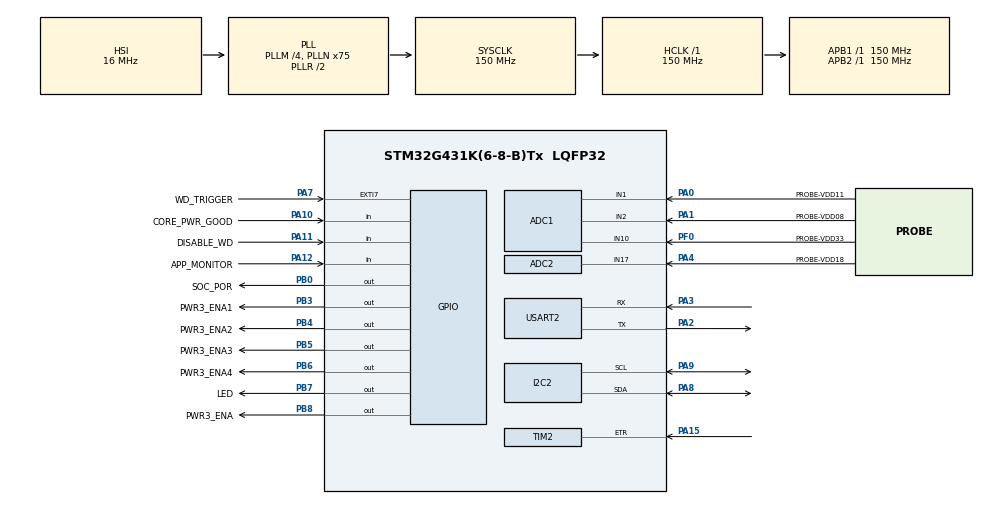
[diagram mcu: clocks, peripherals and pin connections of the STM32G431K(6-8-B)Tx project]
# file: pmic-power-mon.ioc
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ADC1.Channel-0\#ChannelRegularConversion=ADC_CHANNEL_1
ADC1.NbrOfConversionFlag=1
ADC1.OffsetNumber-0\#ChannelRegularConversion=ADC_OFFSET_NONE
ADC1.Rank-0\#ChannelRegularConversion=1
ADC1.SamplingTime-0\#ChannelRegularConversion=ADC_SAMPLETIME_2CYCLES_5
ADC1.master=1
ADC2.Channel-0\#ChannelRegularConversion=ADC_CHANNEL_17
ADC2.NbrOfConversionFlag=1
ADC2.OffsetNumber-0\#ChannelRegularConversion=ADC_OFFSET_NONE
ADC2.Rank-0\#ChannelRegularConversion=1
ADC2.SamplingTime-0\#ChannelRegularConversion=ADC_SAMPLETIME_2CYCLES_5
Dma.Request0=USART2_RX
Dma.Request1=USART2_TX
Dma.USART2_RX.0.Direction=DMA_PERIPH_TO_MEMORY
Dma.USART2_RX.0.EventEnable=DISABLE
Dma.USART2_RX.0.Instance=DMA1_Channel1
Dma.USART2_RX.0.MemDataAlignment=DMA_MDATAALIGN_BYTE
Dma.USART2_RX.0.MemInc=DMA_MINC_ENABLE
Dma.USART2_RX.0.Mode=DMA_NORMAL
Dma.USART2_RX.0.PeriphDataAlignment=DMA_PDATAALIGN_BYTE
Dma.USART2_RX.0.PeriphInc=DMA_PINC_DISABLE
Dma.USART2_RX.0.Polarity=HAL_DMAMUX_REQ_GEN_RISING
Dma.USART2_RX.0.Priority=DMA_PRIORITY_LOW
Dma.USART2_RX.0.RequestNumber=1
Dma.USART2_RX.0.SignalID=NONE
Dma.USART2_RX.0.SyncEnable=DISABLE
Dma.USART2_RX.0.SyncPolarity=HAL_DMAMUX_SYNC_NO_EVENT
Dma.USART2_RX.0.SyncRequestNumber=1
Dma.USART2_RX.0.SyncSignalID=NONE
Dma.USART2_TX.1.Direction=DMA_MEMORY_TO_PERIPH
Dma.USART2_TX.1.EventEnable=DISABLE
Dma.USART2_TX.1.Instance=DMA1_Channel2
Dma.USART2_TX.1.MemDataAlignment=DMA_MDATAALIGN_BYTE
Dma.USART2_TX.1.MemInc=DMA_MINC_ENABLE
Dma.USART2_TX.1.Mode=DMA_NORMAL
Dma.USART2_TX.1.PeriphDataAlignment=DMA_PDATAALIGN_BYTE
Dma.USART2_TX.1.PeriphInc=DMA_PINC_DISABLE
Dma.USART2_TX.1.Polarity=HAL_DMAMUX_REQ_GEN_RISING
Dma.USART2_TX.1.Priority=DMA_PRIORITY_LOW
Dma.USART2_TX.1.RequestNumber=1
Dma.USART2_TX.1.SignalID=NONE
Dma.USART2_TX.1.SyncEnable=DISABLE
Dma.USART2_TX.1.SyncPolarity=HAL_DMAMUX_SYNC_NO_EVENT
Dma.USART2_TX.1.SyncRequestNumber=1
Dma.USART2_TX.1.SyncSignalID=NONE
I2C2.Timing=0x20C0EDFF
Mcu.Family=STM32G4
Mcu.Name=STM32G431K(6-8-B)Tx
Mcu.Package=LQFP32
NVIC.DMA1_Channel1_IRQn=true\:0\:0\:false\:false\:true\:false\:true
NVIC.DMA1_Channel2_IRQn=true\:0\:0\:false\:false\:true\:false\:true
NVIC.PriorityGroup=NVIC_PRIORITYGROUP_4
NVIC.USART2_IRQn=true\:0\:0\:false\:false\:true\:true\:true
PA0.GPIO_Label=PROBE-VDD11
PA0.Mode=IN1-Single-Ended
PA0.Signal=ADC1_IN1
PA1.GPIO_Label=PROBE-VDD08
PA1.Mode=IN2-Single-Ended
PA1.Signal=ADC1_IN2
PA10.GPIO_Label=CORE_PWR_GOOD
PA10.Signal=GPIO_Input
PA11.GPIO_Label=DISABLE_WD
PA11.Signal=GPIO_Input
PA12.GPIO_Label=APP_MONITOR
PA12.Signal=GPIO_Input
PA13.Mode=Serial_Wire
PA13.Signal=SYS_JTMS-SWDIO
PA14.Mode=Serial_Wire
PA14.Signal=SYS_JTCK-SWCLK
PA15.Signal=S_TIM2_ETR
PA2.Mode=Asynchronous
PA2.Signal=USART2_TX
PA3.Mode=Asynchronous
PA3.Signal=USART2_RX
PA4.GPIO_Label=PROBE-VDD18
PA4.Mode=IN17-Single-Ended
PA4.Signal=ADC2_IN17
PA7.GPIO_Label=WD_TRIGGER
PA7.Signal=GPXTI7
PA8.Mode=I2C
PA8.Signal=I2C2_SDA
PA9.Mode=I2C
PA9.Signal=I2C2_SCL
PB0.GPIO_Label=SOC_POR
PB0.Signal=GPIO_Output
PB3.GPIO_Label=PWR3_ENA1
PB3.Signal=GPIO_Output
PB4.GPIO_Label=PWR3_ENA2
PB4.Signal=GPIO_Output
PB5.GPIO_Label=PWR3_ENA3
PB5.Signal=GPIO_Output
PB6.GPIO_Label=PWR3_ENA4
PB6.Signal=GPIO_Output
PB7.GPIO_Label=LED
PB7.Signal=GPIO_Output
PB8-BOOT0.GPIO_Label=PWR3_ENA
PB8-BOOT0.PinState=GPIO_PIN_SET
PB8-BOOT0.Signal=GPIO_Output
PF0-OSC_IN.GPIO_Label=PROBE-VDD33
PF0-OSC_IN.Mode=IN10-Single-Ended
PF0-OSC_IN.Signal=ADC1_IN10
ProjectManager.HeapSize=0x200
ProjectManager.StackSize=0x400
ProjectManager.TargetToolchain=SW4STM32
RCC.ADC12Freq_Value=150000000
RCC.AHBFreq_Value=150000000
RCC.APB1Freq_Value=150000000
RCC.APB1TimFreq_Value=150000000
RCC.APB2Freq_Value=150000000
RCC.APB2TimFreq_Value=150000000
RCC.CortexFreq_Value=150000000
RCC.EXTERNAL_CLOCK_VALUE=12288000
RCC.HCLKFreq_Value=150000000
RCC.HSE_VALUE=8000000
RCC.HSI48_VALUE=48000000
RCC.HSI_VALUE=16000000
RCC.LSE_VALUE=32768
RCC.PLLM=RCC_PLLM_DIV4
RCC.PLLN=75
RCC.SYSCLKFreq_VALUE=150000000
RCC.SYSCLKSource=RCC_SYSCLKSOURCE_PLLCLK
RCC.USBFreq_Value=150000000
RCC.VCOOutputFreq_Value=300000000
RCC.VDD_VALUE=1.8
SH.S_TIM2_ETR.0=TIM2_ETR,ClockSourceETR_Mode2
USART2.VirtualMode-Asynchronous=VM_ASYNC
VP_IWDG_VS_IWDG.Mode=IWDG_Activate
VP_RTC_VS_RTC_Activate.Mode=RTC_Enabled
VP_SYS_VS_DBSignals.Mode=DisableDeadBatterySignals
board=custom

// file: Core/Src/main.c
/* USER CODE BEGIN Header */

#include <stdio.h>

/**
  ******************************************************************************
  * @file           : main.c
  * @brief          : Main program body
  ******************************************************************************
  * @attention
  *
  * <h2><center>&copy; Copyright (c) 2020 STMicroelectronics.
  * All rights reserved.</center></h2>
  *
  * This software component is licensed by ST under BSD 3-Clause license,
  * the "License"; You may not use this file except in compliance with the
  * License. You may obtain a copy of the License at:
  *                        opensource.org/licenses/BSD-3-Clause
  *
  ******************************************************************************
  */
/* USER CODE END Header */
#include "main.h"

ADC_HandleTypeDef hadc1;
ADC_HandleTypeDef hadc2;

I2C_HandleTypeDef hi2c2;

IWDG_HandleTypeDef hiwdg;

RTC_HandleTypeDef hrtc;

TIM_HandleTypeDef htim2;

UART_HandleTypeDef huart2;
DMA_HandleTypeDef hdma_usart2_rx;
DMA_HandleTypeDef hdma_usart2_tx;

void SystemClock_Config(void);
static void MX_GPIO_Init(void);
static void MX_DMA_Init(void);
static void MX_ADC1_Init(void);
static void MX_I2C2_Init(void);
static void MX_IWDG_Init(void);
static void MX_RTC_Init(void);
static void MX_TIM2_Init(void);
static void MX_USART2_UART_Init(void);
static void MX_ADC2_Init(void);
/* USER CODE BEGIN PFP */

char voltage_reading_buffer[128];

enum {
	StateIdle = 0,
	WaitStatePwrStage3,
	StatePwrStage3,
	StateSocReset,
	States
};

void soc_reset_assert(void) {
	SOC_POR_GPIO_Port->BSRR = (SOC_POR_Pin << (1 * 16));
}

void soc_reset_remove(void) {
	SOC_POR_GPIO_Port->BSRR = (SOC_POR_Pin << (0 * 16));
}

void pwr_stage3_assert(void) {
	PWR3_ENA_GPIO_Port->BSRR = (PWR3_ENA_Pin << (0 * 16));
}

void pwr_stage3_remove(void) {
	PWR3_ENA_GPIO_Port->BSRR = (PWR3_ENA_Pin << (1 * 16));
}

uint32_t calibrate_adc(ADC_TypeDef *adc)
{
	adc->CR &= ~(ADC_CR_DEEPPWD);
	adc->CR |= (ADC_CR_ADVREGEN);
	HAL_Delay(250);
	adc->CR &= ~(ADC_CR_ADEN);
	adc->CR &= ~(ADC_CR_ADCALDIF);
	adc->CR |= (ADC_CR_ADCAL);
	while (adc->CR & ADC_CR_ADCAL) { ; }
	uint32_t cal_fact = adc->CALFACT;
	return cal_fact;
}

enum {
	VoltageReading08 = 0,
	VoltageReading11,
	VoltageReading18,
	VoltageReading33,
	VoltageReadings
};

unsigned int voltage[VoltageReadings];
/* 1820 = 0.8V. choose 1600 as threshold for 0.8V
 * 2503 = 1.1V. choose 2200 as threshold for 1.1V
 * 4095 = 1.8V. choose 3800 as threshold for 1.8V
 * 3754 = 1.65V = 3.3V / 2. choose 3500 as threshold. (Voltage is divided by 2 because reference voltage = 1.8V)
 */
const unsigned int voltage_thresh[VoltageReadings] = { 1600, 2200, 0 * 3800, 0 * 3500};

/* reads the adc data register, while the current source is selected,
 * then submits a request for the next reading. after waiting for
 * sufficient time, it's guaranteed the data will be ready. rinse and repeat.
 */
void read_and_submit_adc()
{
	static unsigned int voltage_phase = 0;
	switch (voltage_phase)
	{
	case VoltageReading33:
		voltage[VoltageReading33] = ADC1->DR;
		/* set up reading next channel 0.8V */
		ADC1->SQR1 = (2 << ADC_SQR1_SQ1_Pos);
		ADC1->CR |= ADC_CR_ADSTART;
		voltage_phase = VoltageReading08;
		break;
	case VoltageReading18:
		voltage[VoltageReading18] = ADC2->DR;
		/* set up reading next channel 3.3V */
		ADC1->SQR1 = (10 << ADC_SQR1_SQ1_Pos);
		ADC1->CR |= ADC_CR_ADSTART;
		voltage_phase = VoltageReading33;
		break;
	case VoltageReading11:
		voltage[VoltageReading11] = ADC1->DR;
		/* set up reading next channel 1.8V */
		ADC2->SQR1 = (17 << ADC_SQR1_SQ1_Pos);
		ADC2->CR |= ADC_CR_ADSTART;
		voltage_phase = VoltageReading18;
		break;
	case VoltageReading08:
		voltage[VoltageReading08] = ADC1->DR;
		/* set up reading next channel 1.1V */
		ADC1->SQR1 = (1 << ADC_SQR1_SQ1_Pos);
		ADC1->CR |= ADC_CR_ADSTART;
		voltage_phase = VoltageReading11;
		break;

	default: /* state machine, you glitched. reset thyself! */
		voltage_phase = VoltageReading08;
		break;
	}
}

uint32_t adc1_cal_fact, adc2_cal_fact;

/* USER CODE END PFP */

int main(void)
{

  /* MCU Configuration--------------------------------------------------------*/

  /* Reset of all peripherals, Initializes the Flash interface and the Systick. */
  HAL_Init();

  /* Configure the system clock */
  SystemClock_Config();

  /* Initialize all configured peripherals */
  MX_GPIO_Init();
  MX_DMA_Init();
  MX_ADC1_Init();
  MX_I2C2_Init();
  MX_IWDG_Init();
  MX_RTC_Init();
  MX_TIM2_Init();
  MX_USART2_UART_Init();
  MX_ADC2_Init();
  /* USER CODE BEGIN 2 */

  LED_GPIO_Port->BSRR = (LED_Pin << (1 * 16));

//  HAL_Delay(1000); /* delay after bringing up ADC VREF */
  adc1_cal_fact = calibrate_adc(ADC1);
  adc2_cal_fact = calibrate_adc(ADC2);

  ADC1->CR |= (ADC_CR_ADEN);
  ADC2->CR |= (ADC_CR_ADEN);

  /* USER CODE END 2 */

  /* Infinite loop */
  /* USER CODE BEGIN WHILE */
  volatile uint32_t core_power_status;
//  uint32_t soc_reset_counter = 0; /* default is still in reset */
//  uint32_t pwr_stage3_counter = 0;
  uint32_t state_counter = 0;
  uint32_t watchdog_counter = 0;
  uint32_t reading_counter = 0;
  const uint32_t loop_delay_ms = 10;
  const uint32_t soc_reset_threshold = 150;
  const uint32_t wait_pwr_stage3_threshold = 250;
  const uint32_t pwr_stage3_threshold = 150;
  const uint32_t watchdog_threshold = 150;
  const uint32_t reading_threshold = 1000;
  uint32_t state = StateIdle;

  while (1)
  {

	  HAL_Delay(loop_delay_ms);

	  IWDG->KR = 0xaaaa;

	  watchdog_counter += loop_delay_ms;
	  if (watchdog_counter >= watchdog_threshold) {
		  IWDG->KR = 0xaaaa;
		  watchdog_counter = 0;
	  }

	  reading_counter += loop_delay_ms;
	  if (reading_counter >= reading_threshold) {
		  reading_counter = 0;
		  read_and_submit_adc();
		  snprintf(voltage_reading_buffer, sizeof(voltage_reading_buffer),
            "voltage: %dmV %dmV %dmV %dmV\n", voltage[0], voltage[1], voltage[2], voltage[3]);
	  }

	  unsigned int voltage_stable = 1;
	  for (int i = 0; i < VoltageReadings; ++i) {
		  voltage_stable = voltage_stable & ((voltage[i] >= voltage_thresh[i]) ? 1 : 0);
	  }

	  core_power_status = (CORE_PWR_GOOD_GPIO_Port->IDR & CORE_PWR_GOOD_Pin);
#if 0
	  if (status == 0) { /* if CORE_PWR_GOOD goes low, reset the whole thing and start again */
        pwr_stage3_remove();
        soc_reset_assert();
        state = StateIdle;
        state_counter = 0;
	  } else if ((voltage_stable == 0) && (state = StateSocReset)) {
	  }
#endif

	  /* TODO not handled. what if power goes out during operation? */

	  switch (state) {

	  case StateIdle: {
		  if (core_power_status) {
            state_counter += loop_delay_ms;
			if (state_counter >= pwr_stage3_threshold) {
			  pwr_stage3_assert();
			  state = WaitStatePwrStage3;
			  state_counter = 0;
			}
		  } else {
            pwr_stage3_remove();
            soc_reset_assert();
            state_counter = 0; /* go back to beginning of same state */
		  }}
		  break;

	  case WaitStatePwrStage3: {
		  if (core_power_status && voltage_stable) {
			  state_counter += loop_delay_ms;
				if (state_counter >= wait_pwr_stage3_threshold) {
				  state = StatePwrStage3;
				  state_counter = 0;
				}
		  } else if (core_power_status == 0) {
              state = StateIdle;
              state_counter = 0;
		  }}
		  break;

	  case StatePwrStage3: {
		  if (core_power_status) {
			state_counter += loop_delay_ms;
			if (state_counter >= soc_reset_threshold) {
              soc_reset_remove();
			  state = StateSocReset;
			}
		  }}
		  break;

	  case StateSocReset:
		  if ((core_power_status == 0) || (voltage_stable == 0))
		  {
			  /* TODO handle error condition */
		  }
		  break;

	  default: {
        state = StateIdle;
	  } break;

	  }

    /* USER CODE END WHILE */

  }
}

void SystemClock_Config(void)
{
  RCC_OscInitTypeDef RCC_OscInitStruct = {0};
  RCC_ClkInitTypeDef RCC_ClkInitStruct = {0};
  RCC_PeriphCLKInitTypeDef PeriphClkInit = {0};

  /** Configure the main internal regulator output voltage
  */
  HAL_PWREx_ControlVoltageScaling(PWR_REGULATOR_VOLTAGE_SCALE1);
  /** Initializes the RCC Oscillators according to the specified parameters
  * in the RCC_OscInitTypeDef structure.
  */
  RCC_OscInitStruct.OscillatorType = RCC_OSCILLATORTYPE_HSI|RCC_OSCILLATORTYPE_LSI;
  RCC_OscInitStruct.HSIState = RCC_HSI_ON;
  RCC_OscInitStruct.HSICalibrationValue = RCC_HSICALIBRATION_DEFAULT;
  RCC_OscInitStruct.LSIState = RCC_LSI_ON;
  RCC_OscInitStruct.PLL.PLLState = RCC_PLL_ON;
  RCC_OscInitStruct.PLL.PLLSource = RCC_PLLSOURCE_HSI;
  RCC_OscInitStruct.PLL.PLLM = RCC_PLLM_DIV4;
  RCC_OscInitStruct.PLL.PLLN = 75;
  RCC_OscInitStruct.PLL.PLLP = RCC_PLLP_DIV2;
  RCC_OscInitStruct.PLL.PLLQ = RCC_PLLQ_DIV2;
  RCC_OscInitStruct.PLL.PLLR = RCC_PLLR_DIV2;
  if (HAL_RCC_OscConfig(&RCC_OscInitStruct) != HAL_OK)
  {
    Error_Handler();
  }
  /** Initializes the CPU, AHB and APB buses clocks
  */
  RCC_ClkInitStruct.ClockType = RCC_CLOCKTYPE_HCLK|RCC_CLOCKTYPE_SYSCLK
                              |RCC_CLOCKTYPE_PCLK1|RCC_CLOCKTYPE_PCLK2;
  RCC_ClkInitStruct.SYSCLKSource = RCC_SYSCLKSOURCE_PLLCLK;
  RCC_ClkInitStruct.AHBCLKDivider = RCC_SYSCLK_DIV1;
  RCC_ClkInitStruct.APB1CLKDivider = RCC_HCLK_DIV1;
  RCC_ClkInitStruct.APB2CLKDivider = RCC_HCLK_DIV1;

  if (HAL_RCC_ClockConfig(&RCC_ClkInitStruct, FLASH_LATENCY_4) != HAL_OK)
  {
    Error_Handler();
  }
  /** Initializes the peripherals clocks
  */
  PeriphClkInit.PeriphClockSelection = RCC_PERIPHCLK_RTC|RCC_PERIPHCLK_USART2
                              |RCC_PERIPHCLK_I2C2|RCC_PERIPHCLK_ADC12;
  PeriphClkInit.Usart2ClockSelection = RCC_USART2CLKSOURCE_PCLK1;
  PeriphClkInit.I2c2ClockSelection = RCC_I2C2CLKSOURCE_PCLK1;
  PeriphClkInit.Adc12ClockSelection = RCC_ADC12CLKSOURCE_SYSCLK;
  PeriphClkInit.RTCClockSelection = RCC_RTCCLKSOURCE_LSI;

  if (HAL_RCCEx_PeriphCLKConfig(&PeriphClkInit) != HAL_OK)
  {
    Error_Handler();
  }
}

static void MX_ADC1_Init(void)
{

  ADC_MultiModeTypeDef multimode = {0};
  ADC_ChannelConfTypeDef sConfig = {0};

  /** Common config
  */
  hadc1.Instance = ADC1;
  hadc1.Init.ClockPrescaler = ADC_CLOCK_SYNC_PCLK_DIV4;
  hadc1.Init.Resolution = ADC_RESOLUTION_12B;
  hadc1.Init.DataAlign = ADC_DATAALIGN_RIGHT;
  hadc1.Init.GainCompensation = 0;
  hadc1.Init.ScanConvMode = ADC_SCAN_DISABLE;
  hadc1.Init.EOCSelection = ADC_EOC_SINGLE_CONV;
  hadc1.Init.LowPowerAutoWait = DISABLE;
  hadc1.Init.ContinuousConvMode = DISABLE;
  hadc1.Init.NbrOfConversion = 1;
  hadc1.Init.DiscontinuousConvMode = DISABLE;
  hadc1.Init.ExternalTrigConv = ADC_SOFTWARE_START;
  hadc1.Init.ExternalTrigConvEdge = ADC_EXTERNALTRIGCONVEDGE_NONE;
  hadc1.Init.DMAContinuousRequests = DISABLE;
  hadc1.Init.Overrun = ADC_OVR_DATA_PRESERVED;
  hadc1.Init.OversamplingMode = DISABLE;
  if (HAL_ADC_Init(&hadc1) != HAL_OK)
  {
    Error_Handler();
  }
  /** Configure the ADC multi-mode
  */
  multimode.Mode = ADC_MODE_INDEPENDENT;
  if (HAL_ADCEx_MultiModeConfigChannel(&hadc1, &multimode) != HAL_OK)
  {
    Error_Handler();
  }
  /** Configure Regular Channel
  */
  sConfig.Channel = ADC_CHANNEL_1;
  sConfig.Rank = ADC_REGULAR_RANK_1;
  sConfig.SamplingTime = ADC_SAMPLETIME_2CYCLES_5;
  sConfig.SingleDiff = ADC_SINGLE_ENDED;
  sConfig.OffsetNumber = ADC_OFFSET_NONE;
  sConfig.Offset = 0;
  if (HAL_ADC_ConfigChannel(&hadc1, &sConfig) != HAL_OK)
  {
    Error_Handler();
  }
  /* USER CODE BEGIN ADC1_Init 2 */

  ADC_TypeDef *adc = ADC1;
  adc->CR &= ~(ADC_CR_ADEN); /* explicitly disable */
  adc->CFGR &= ~(ADC_CFGR_CONT);
  adc->CR |= ADC_CCR_VREFEN;

  /* USER CODE END ADC1_Init 2 */

}

static void MX_ADC2_Init(void)
{

  ADC_ChannelConfTypeDef sConfig = {0};

  /** Common config
  */
  hadc2.Instance = ADC2;
  hadc2.Init.ClockPrescaler = ADC_CLOCK_SYNC_PCLK_DIV4;
  hadc2.Init.Resolution = ADC_RESOLUTION_12B;
  hadc2.Init.DataAlign = ADC_DATAALIGN_RIGHT;
  hadc2.Init.GainCompensation = 0;
  hadc2.Init.ScanConvMode = ADC_SCAN_DISABLE;
  hadc2.Init.EOCSelection = ADC_EOC_SINGLE_CONV;
  hadc2.Init.LowPowerAutoWait = DISABLE;
  hadc2.Init.ContinuousConvMode = DISABLE;
  hadc2.Init.NbrOfConversion = 1;
  hadc2.Init.DiscontinuousConvMode = DISABLE;
  hadc2.Init.ExternalTrigConv = ADC_SOFTWARE_START;
  hadc2.Init.ExternalTrigConvEdge = ADC_EXTERNALTRIGCONVEDGE_NONE;
  hadc2.Init.DMAContinuousRequests = DISABLE;
  hadc2.Init.Overrun = ADC_OVR_DATA_PRESERVED;
  hadc2.Init.OversamplingMode = DISABLE;
  if (HAL_ADC_Init(&hadc2) != HAL_OK)
  {
    Error_Handler();
  }
  /** Configure Regular Channel
  */
  sConfig.Channel = ADC_CHANNEL_17;
  sConfig.Rank = ADC_REGULAR_RANK_1;
  sConfig.SamplingTime = ADC_SAMPLETIME_2CYCLES_5;
  sConfig.SingleDiff = ADC_SINGLE_ENDED;
  sConfig.OffsetNumber = ADC_OFFSET_NONE;
  sConfig.Offset = 0;
  if (HAL_ADC_ConfigChannel(&hadc2, &sConfig) != HAL_OK)
  {
    Error_Handler();
  }
  /* USER CODE BEGIN ADC2_Init 2 */

  ADC_TypeDef *adc = ADC2;
  adc->CR &= ~(ADC_CR_ADEN); /* explicitly disable */
  adc->CFGR &= ~(ADC_CFGR_CONT);
  adc->CR |= ADC_CCR_VREFEN;

  /* USER CODE END ADC2_Init 2 */

}

static void MX_I2C2_Init(void)
{

  hi2c2.Instance = I2C2;
  hi2c2.Init.Timing = 0x20C0EDFF;
  hi2c2.Init.OwnAddress1 = 0;
  hi2c2.Init.AddressingMode = I2C_ADDRESSINGMODE_7BIT;
  hi2c2.Init.DualAddressMode = I2C_DUALADDRESS_DISABLE;
  hi2c2.Init.OwnAddress2 = 0;
  hi2c2.Init.OwnAddress2Masks = I2C_OA2_NOMASK;
  hi2c2.Init.GeneralCallMode = I2C_GENERALCALL_DISABLE;
  hi2c2.Init.NoStretchMode = I2C_NOSTRETCH_DISABLE;
  if (HAL_I2C_Init(&hi2c2) != HAL_OK)
  {
    Error_Handler();
  }
  /** Configure Analogue filter
  */
  if (HAL_I2CEx_ConfigAnalogFilter(&hi2c2, I2C_ANALOGFILTER_ENABLE) != HAL_OK)
  {
    Error_Handler();
  }
  /** Configure Digital filter
  */
  if (HAL_I2CEx_ConfigDigitalFilter(&hi2c2, 0) != HAL_OK)
  {
    Error_Handler();
  }

}

static void MX_IWDG_Init(void)
{

  hiwdg.Instance = IWDG;
  hiwdg.Init.Prescaler = IWDG_PRESCALER_4;
  hiwdg.Init.Window = 4095;
  hiwdg.Init.Reload = 4095;
  if (HAL_IWDG_Init(&hiwdg) != HAL_OK)
  {
    Error_Handler();
  }

}

static void MX_RTC_Init(void)
{

  /** Initialize RTC Only
  */
  hrtc.Instance = RTC;
  hrtc.Init.HourFormat = RTC_HOURFORMAT_24;
  hrtc.Init.AsynchPrediv = 127;
  hrtc.Init.SynchPrediv = 255;
  hrtc.Init.OutPut = RTC_OUTPUT_DISABLE;
  hrtc.Init.OutPutRemap = RTC_OUTPUT_REMAP_NONE;
  hrtc.Init.OutPutPolarity = RTC_OUTPUT_POLARITY_HIGH;
  hrtc.Init.OutPutType = RTC_OUTPUT_TYPE_OPENDRAIN;
  hrtc.Init.OutPutPullUp = RTC_OUTPUT_PULLUP_NONE;
  if (HAL_RTC_Init(&hrtc) != HAL_OK)
  {
    Error_Handler();
  }

}

static void MX_TIM2_Init(void)
{

  TIM_ClockConfigTypeDef sClockSourceConfig = {0};
  TIM_MasterConfigTypeDef sMasterConfig = {0};

  htim2.Instance = TIM2;
  htim2.Init.Prescaler = 0;
  htim2.Init.CounterMode = TIM_COUNTERMODE_UP;
  htim2.Init.Period = 4.294967295E9;
  htim2.Init.ClockDivision = TIM_CLOCKDIVISION_DIV1;
  htim2.Init.AutoReloadPreload = TIM_AUTORELOAD_PRELOAD_DISABLE;
  if (HAL_TIM_Base_Init(&htim2) != HAL_OK)
  {
    Error_Handler();
  }
  sClockSourceConfig.ClockSource = TIM_CLOCKSOURCE_ETRMODE2;
  sClockSourceConfig.ClockPolarity = TIM_CLOCKPOLARITY_NONINVERTED;
  sClockSourceConfig.ClockPrescaler = TIM_CLOCKPRESCALER_DIV1;
  sClockSourceConfig.ClockFilter = 0;
  if (HAL_TIM_ConfigClockSource(&htim2, &sClockSourceConfig) != HAL_OK)
  {
    Error_Handler();
  }
  sMasterConfig.MasterOutputTrigger = TIM_TRGO_RESET;
  sMasterConfig.MasterSlaveMode = TIM_MASTERSLAVEMODE_DISABLE;
  if (HAL_TIMEx_MasterConfigSynchronization(&htim2, &sMasterConfig) != HAL_OK)
  {
    Error_Handler();
  }

}

static void MX_USART2_UART_Init(void)
{

  huart2.Instance = USART2;
  huart2.Init.BaudRate = 115200;
  huart2.Init.WordLength = UART_WORDLENGTH_8B;
  huart2.Init.StopBits = UART_STOPBITS_1;
  huart2.Init.Parity = UART_PARITY_NONE;
  huart2.Init.Mode = UART_MODE_TX_RX;
  huart2.Init.HwFlowCtl = UART_HWCONTROL_NONE;
  huart2.Init.OverSampling = UART_OVERSAMPLING_16;
  huart2.Init.OneBitSampling = UART_ONE_BIT_SAMPLE_DISABLE;
  huart2.Init.ClockPrescaler = UART_PRESCALER_DIV1;
  huart2.AdvancedInit.AdvFeatureInit = UART_ADVFEATURE_NO_INIT;
  if (HAL_UART_Init(&huart2) != HAL_OK)
  {
    Error_Handler();
  }
  if (HAL_UARTEx_SetTxFifoThreshold(&huart2, UART_TXFIFO_THRESHOLD_1_8) != HAL_OK)
  {
    Error_Handler();
  }
  if (HAL_UARTEx_SetRxFifoThreshold(&huart2, UART_RXFIFO_THRESHOLD_1_8) != HAL_OK)
  {
    Error_Handler();
  }
  if (HAL_UARTEx_DisableFifoMode(&huart2) != HAL_OK)
  {
    Error_Handler();
  }

}

static void MX_DMA_Init(void)
{

  /* DMA controller clock enable */
  __HAL_RCC_DMAMUX1_CLK_ENABLE();
  __HAL_RCC_DMA1_CLK_ENABLE();

  /* DMA interrupt init */
  /* DMA1_Channel1_IRQn interrupt configuration */
  HAL_NVIC_SetPriority(DMA1_Channel1_IRQn, 0, 0);
  HAL_NVIC_EnableIRQ(DMA1_Channel1_IRQn);
  /* DMA1_Channel2_IRQn interrupt configuration */
  HAL_NVIC_SetPriority(DMA1_Channel2_IRQn, 0, 0);
  HAL_NVIC_EnableIRQ(DMA1_Channel2_IRQn);

}

static void MX_GPIO_Init(void)
{
  GPIO_InitTypeDef GPIO_InitStruct = {0};

  /* GPIO Ports Clock Enable */
  __HAL_RCC_GPIOF_CLK_ENABLE();
  __HAL_RCC_GPIOA_CLK_ENABLE();
  __HAL_RCC_GPIOB_CLK_ENABLE();

  /*Configure GPIO pin Output Level */
  HAL_GPIO_WritePin(GPIOB, SOC_POR_Pin|PWR3_ENA1_Pin|PWR3_ENA2_Pin|PWR3_ENA3_Pin
                          |PWR3_ENA4_Pin|LED_Pin, GPIO_PIN_RESET);

  /*Configure GPIO pin Output Level */
  HAL_GPIO_WritePin(PWR3_ENA_GPIO_Port, PWR3_ENA_Pin, GPIO_PIN_SET);

  /*Configure GPIO pin : WD_TRIGGER_Pin */
  GPIO_InitStruct.Pin = WD_TRIGGER_Pin;
  GPIO_InitStruct.Mode = GPIO_MODE_IT_RISING;
  GPIO_InitStruct.Pull = GPIO_NOPULL;
  HAL_GPIO_Init(WD_TRIGGER_GPIO_Port, &GPIO_InitStruct);

  /*Configure GPIO pins : SOC_POR_Pin PWR3_ENA1_Pin PWR3_ENA2_Pin PWR3_ENA3_Pin
                           PWR3_ENA4_Pin LED_Pin PWR3_ENA_Pin */
  GPIO_InitStruct.Pin = SOC_POR_Pin|PWR3_ENA1_Pin|PWR3_ENA2_Pin|PWR3_ENA3_Pin
                          |PWR3_ENA4_Pin|LED_Pin|PWR3_ENA_Pin;
  GPIO_InitStruct.Mode = GPIO_MODE_OUTPUT_PP;
  GPIO_InitStruct.Pull = GPIO_NOPULL;
  GPIO_InitStruct.Speed = GPIO_SPEED_FREQ_LOW;
  HAL_GPIO_Init(GPIOB, &GPIO_InitStruct);

  /*Configure GPIO pins : CORE_PWR_GOOD_Pin DISABLE_WD_Pin APP_MONITOR_Pin */
  GPIO_InitStruct.Pin = CORE_PWR_GOOD_Pin|DISABLE_WD_Pin|APP_MONITOR_Pin;
  GPIO_InitStruct.Mode = GPIO_MODE_INPUT;
  GPIO_InitStruct.Pull = GPIO_NOPULL;
  HAL_GPIO_Init(GPIOA, &GPIO_InitStruct);

}

void Error_Handler(void)
{
}

/************************ (C) COPYRIGHT STMicroelectronics *****END OF FILE****/
